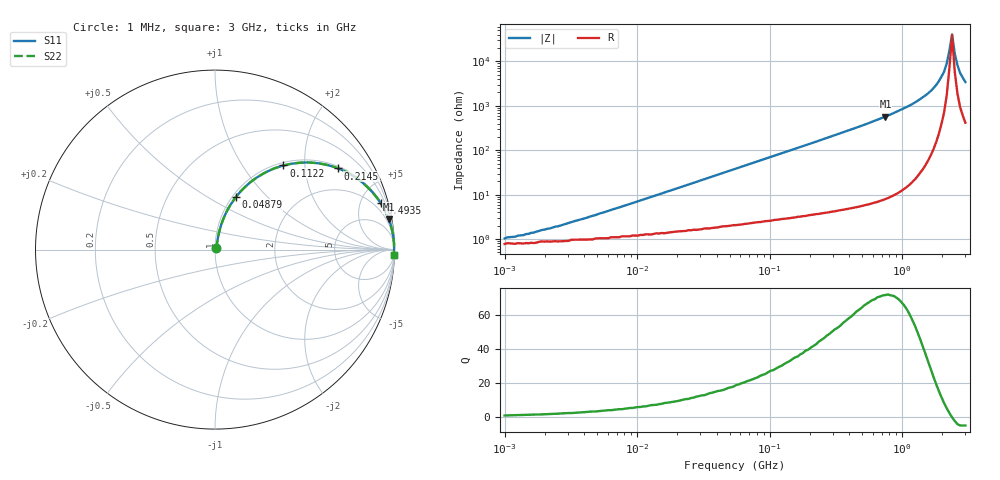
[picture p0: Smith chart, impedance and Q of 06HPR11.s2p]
# MHz S MA R 50
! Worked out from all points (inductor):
!   174 points, 1 MHz to 3 GHz, reference 50 ohm
!   read as one part in series: L = 110 nH near 4.397 MHz
!   highest Q = 71.8 at 748.4 MHz (marker M1), where L = 122 nH
!   self-resonance near 2.273 GHz
!   S11 on the Smith chart (normalised r, x): 1 MHz: 1.02, +0.01; 48.79 MHz: 1.04, +0.68; 112.2 MHz: 1.05, +1.56; 214.5 MHz: 1.07, +2.99; 493.5 MHz: 1.11, +7.13; 3 GHz: 9, -68
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1  0.01 41.2  0.992 -0.4  0.992 -0.4  0.01 41.2
2.196  0.017 59.1  0.991 -0.9  0.991 -0.9  0.017 59.1
3.827  0.028 68.3  0.99 -1.5  0.99 -1.5  0.028 68.3
14.647  0.1 76.7  0.982 -5.7  0.982 -5.7  0.1 76.7
48.788  0.315 68.3  0.931 -18.3  0.931 -18.3  0.315 68.3
56.054  0.356 66.1  0.916 -20.8  0.916 -20.8  0.356 66.1
112.226  0.604 50.9  0.776 -37.1  0.776 -37.1  0.604 50.9
214.526  0.822 33.3  0.55 -55.3  0.55 -55.3  0.822 33.3
493.471  0.959 15.6  0.269 -73.5  0.269 -73.5  0.959 15.6
748.432  0.983 9.8  0.171 -79.4  0.171 -79.4  0.983 9.8
821.013  0.986 8.8  0.153 -80.4  0.153 -80.4  0.986 8.8
1304.187  0.995 4.4  0.077 -84.4  0.077 -84.4  0.995 4.4
1569.407  0.997 3.0  0.052 -85.3  0.052 -85.3  0.997 3.0
1803.153  0.998 1.9  0.034 -85.1  0.034 -85.1  0.998 1.9
2071.713  0.998 0.9  0.017 -82.1  0.017 -82.1  0.998 0.9
2169.844  0.998 0.6  0.011 -78.2  0.011 -78.2  0.998 0.6
2272.623  0.998 0.3  0.005641 -66.0  0.005641 -66.0  0.998 0.3
2380.271  0.998 -0.0  0.002464 10.8  0.002464 10.8  0.998 -0.0
2493.018  0.997 -0.3  0.006622 66.6  0.006622 66.6  0.997 -0.3
2611.105  0.997 -0.7  0.012 75.9  0.012 75.9  0.997 -0.7
2734.786  0.997 -1.0  0.018 79.2  0.018 79.2  0.997 -1.0
3000  0.996 -1.6  0.029 81.4  0.029 81.4  0.996 -1.6
